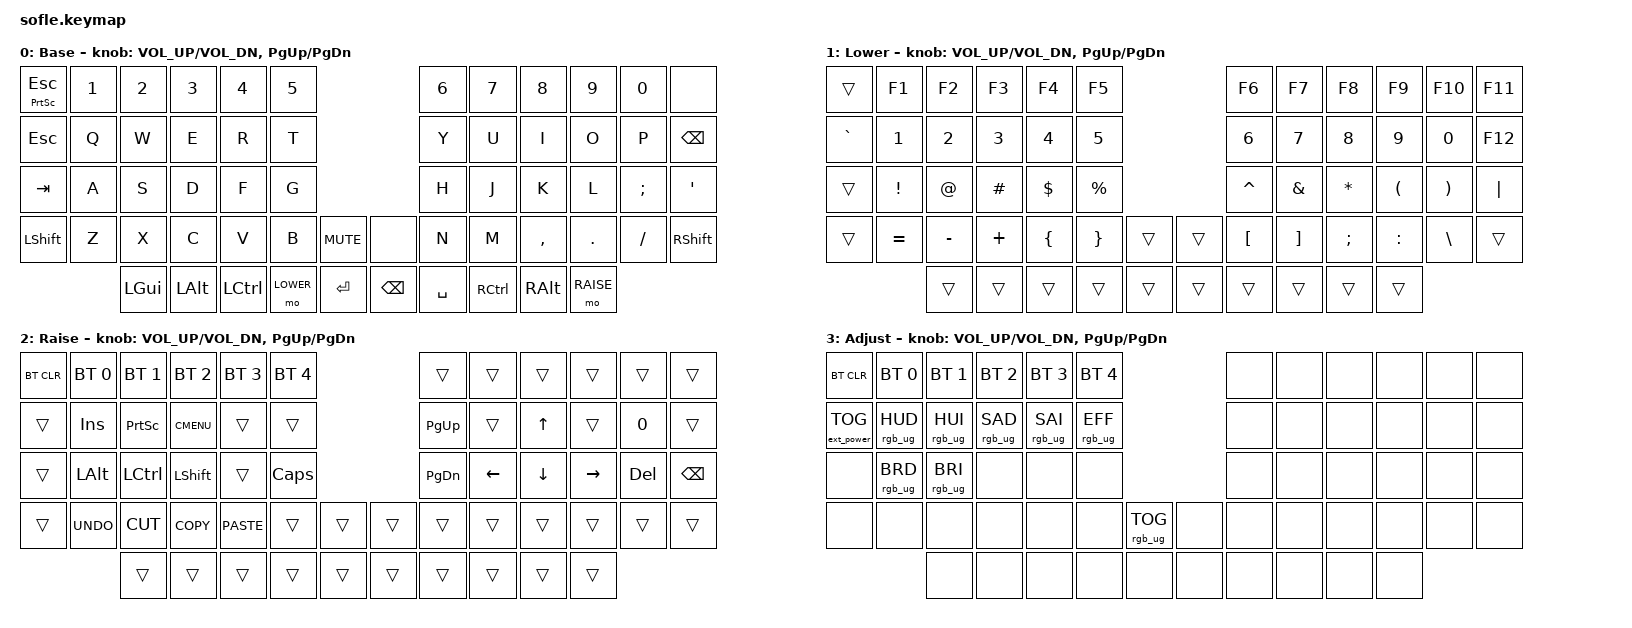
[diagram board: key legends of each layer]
/*
 * Copyright (c) 2020 The ZMK Contributors
 *
 * SPDX-License-Identifier: MIT
 */

#include <behaviors.dtsi>
#include <dt-bindings/zmk/behaviors.h>
#include <dt-bindings/zmk/keys.h>
#include <dt-bindings/zmk/bt.h>
#include <dt-bindings/zmk/rgb.h>
#include <dt-bindings/zmk/ext_power.h>

#define BASE 0
#define LOWER 1
#define RAISE 2
#define ADJUST 3

/ {
    behaviors {
        esc_prtsc: esc_prtsc {
            compatible = "zmk,behavior-hold-tap";
            label = "ESC_PRTSC";
            #binding-cells = <2>; // FIXED: Must be 2 for hold-tap behaviors
            flavor = "tap-preferred";
            tapping-term-ms = <200>;
            bindings = <&kp>, <&kp>; // FIXED: Generic keypress bindings
        };
    };

    conditional_layers {
        compatible = "zmk,conditional-layers";

        adjust_layer {
            if-layers = <LOWER RAISE>;
            then-layer = <ADJUST>;
        };
    };

    keymap {
        compatible = "zmk,keymap";

        default_layer {
            display-name = "Base";

            bindings = <
&esc_prtsc PSCRN ESC &kp N1 &kp N2   &kp N3   &kp N4    &kp N5                           &kp N6 &kp N7    &kp N8     &kp N9   &kp N0    &none
&kp ESC              &kp Q  &kp W    &kp E    &kp R     &kp T                            &kp Y  &kp U     &kp I      &kp O    &kp P     &kp BSPC
&kp TAB              &kp A  &kp S    &kp D    &kp F     &kp G                            &kp H  &kp J     &kp K      &kp L    &kp SEMI  &kp SQT
&kp LSHFT            &kp Z  &kp X    &kp C    &kp V     &kp B      &kp C_MUTE &none      &kp N  &kp M     &kp COMMA &kp DOT  &kp FSLH  &kp RSHFT
                            &kp LGUI &kp LALT &kp LCTRL &mo LOWER   &kp RET    &kp BSPC   &kp SPACE &kp RCTRL &kp RALT &mo RAISE
            >;

            sensor-bindings = <
                &inc_dec_kp C_VOL_UP C_VOL_DN
                &inc_dec_kp PG_UP PG_DN
            >;
        };

        lower_layer {
            display-name = "Lower";

            bindings = <
&trans    &kp F1    &kp F2    &kp F3   &kp F4   &kp F5                      &kp F6    &kp F7   &kp F8    &kp F9    &kp F10   &kp F11
&kp GRAVE &kp N1    &kp N2    &kp N3   &kp N4   &kp N5                      &kp N6    &kp N7   &kp N8    &kp N9    &kp N0    &kp F12
&trans    &kp EXCL  &kp AT    &kp HASH &kp DLLR &kp PRCNT                   &kp CARET &kp AMPS &kp ASTRK &kp LPAR  &kp RPAR  &kp PIPE
&trans    &kp EQUAL &kp MINUS &kp PLUS &kp LBRC &kp RBRC &trans &trans      &kp LBKT  &kp RBKT &kp SEMI  &kp COLON &kp BSLH  &trans
                    &trans    &trans    &trans   &trans   &trans &trans      &trans    &trans   &trans    &trans
            >;

            sensor-bindings = <
                &inc_dec_kp C_VOL_UP C_VOL_DN
                &inc_dec_kp PG_UP PG_DN
            >;
        };

        raise_layer {
            display-name = "Raise";

            bindings = <
&bt BT_CLR &bt BT_SEL 0 &bt BT_SEL 1 &bt BT_SEL 2 &bt BT_SEL 3 &bt BT_SEL 4                    &trans    &trans   &trans   &trans    &trans   &trans
&trans     &kp INS      &kp PSCRN    &kp K_CMENU  &trans       &trans                          &kp PG_UP &trans   &kp UP   &trans    &kp N0   &trans
&trans     &kp LALT     &kp LCTRL    &kp LSHFT    &trans       &kp CLCK                        &kp PG_DN &kp LEFT &kp DOWN &kp RIGHT &kp DEL  &kp BSPC
&trans     &kp K_UNDO   &kp K_CUT    &kp K_COPY   &kp K_PASTE  &trans       &trans &trans       &trans    &trans   &trans   &trans    &trans   &trans
                        &trans       &trans        &trans       &trans       &trans &trans       &trans    &trans   &trans   &trans
            >;

            sensor-bindings = <
                &inc_dec_kp C_VOL_UP C_VOL_DN
                &inc_dec_kp PG_UP PG_DN
            >;
        };

        adjust_layer {
            display-name = "Adjust";

            bindings = <
&bt BT_CLR        &bt BT_SEL 0    &bt BT_SEL 1    &bt BT_SEL 2    &bt BT_SEL 3    &bt BT_SEL 4                               &none &none &none &none &none &none
&ext_power EP_TOG &rgb_ug RGB_HUD &rgb_ug RGB_HUI &rgb_ug RGB_SAD &rgb_ug RGB_SAI &rgb_ug RGB_EFF                            &none &none &none &none &none &none
&none             &rgb_ug RGB_BRD &rgb_ug RGB_BRI &none           &none           &none                                      &none &none &none &none &none &none
&none             &none           &none           &none           &none           &none           &rgb_ug RGB_TOG &none       &none &none &none &none &none &none
                                  &none           &none           &none           &none           &none           &none       &none &none &none &none
            >;

            sensor-bindings = <
                &inc_dec_kp C_VOL_UP C_VOL_DN
                &inc_dec_kp PG_UP PG_DN
            >;
        };
    };
};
